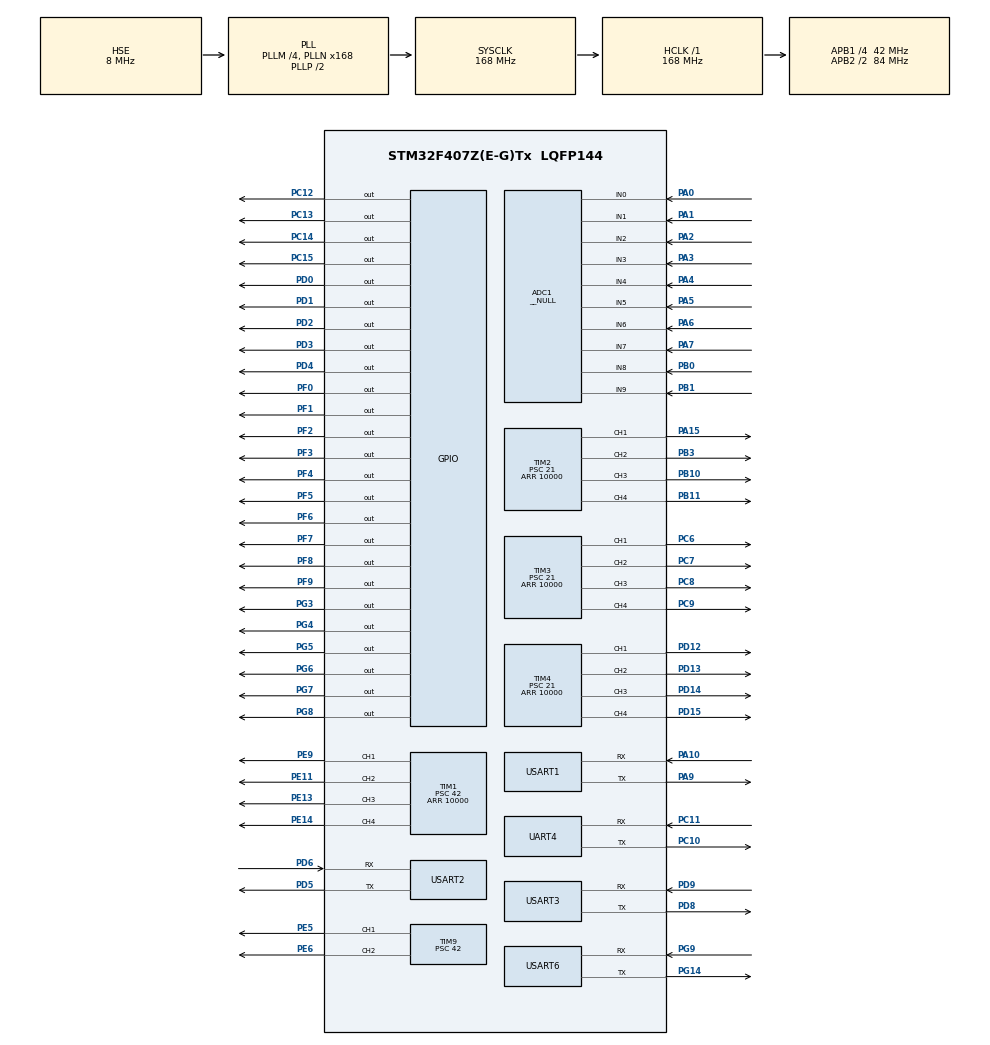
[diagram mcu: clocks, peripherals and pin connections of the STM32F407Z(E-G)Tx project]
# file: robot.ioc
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ADC1.Channel-0\#ChannelRegularConversion=ADC_CHANNEL_0
ADC1.Channel-1\#ChannelRegularConversion=ADC_CHANNEL_1
ADC1.Channel-2\#ChannelRegularConversion=ADC_CHANNEL_2
ADC1.Channel-3\#ChannelRegularConversion=ADC_CHANNEL_3
ADC1.Channel-4\#ChannelRegularConversion=ADC_CHANNEL_4
ADC1.Channel-5\#ChannelRegularConversion=ADC_CHANNEL_5
ADC1.Channel-6\#ChannelRegularConversion=ADC_CHANNEL_6
ADC1.Channel-7\#ChannelRegularConversion=ADC_CHANNEL_7
ADC1.Channel-8\#ChannelRegularConversion=ADC_CHANNEL_8
ADC1.Channel-9\#ChannelRegularConversion=ADC_CHANNEL_9
ADC1.ContinuousConvMode=ENABLE
ADC1.DMAContinuousRequests=ENABLE
ADC1.DiscontinuousConvMode=DISABLE
ADC1.Mode=__NULL
ADC1.NbrOfConversion=10
ADC1.NbrOfConversionFlag=1
ADC1.Rank-0\#ChannelRegularConversion=1
ADC1.Rank-1\#ChannelRegularConversion=2
ADC1.Rank-2\#ChannelRegularConversion=3
ADC1.Rank-3\#ChannelRegularConversion=4
ADC1.Rank-4\#ChannelRegularConversion=5
ADC1.Rank-5\#ChannelRegularConversion=6
ADC1.Rank-6\#ChannelRegularConversion=7
ADC1.Rank-7\#ChannelRegularConversion=8
ADC1.Rank-8\#ChannelRegularConversion=9
ADC1.Rank-9\#ChannelRegularConversion=10
ADC1.SamplingTime-0\#ChannelRegularConversion=ADC_SAMPLETIME_3CYCLES
ADC1.SamplingTime-1\#ChannelRegularConversion=ADC_SAMPLETIME_3CYCLES
ADC1.SamplingTime-2\#ChannelRegularConversion=ADC_SAMPLETIME_3CYCLES
ADC1.SamplingTime-3\#ChannelRegularConversion=ADC_SAMPLETIME_3CYCLES
ADC1.SamplingTime-4\#ChannelRegularConversion=ADC_SAMPLETIME_3CYCLES
ADC1.SamplingTime-5\#ChannelRegularConversion=ADC_SAMPLETIME_3CYCLES
ADC1.SamplingTime-6\#ChannelRegularConversion=ADC_SAMPLETIME_3CYCLES
ADC1.SamplingTime-7\#ChannelRegularConversion=ADC_SAMPLETIME_3CYCLES
ADC1.SamplingTime-8\#ChannelRegularConversion=ADC_SAMPLETIME_3CYCLES
ADC1.SamplingTime-9\#ChannelRegularConversion=ADC_SAMPLETIME_3CYCLES
ADC1.ScanConvMode=ENABLE
ADC1.master=1
Dma.ADC1.0.Direction=DMA_PERIPH_TO_MEMORY
Dma.ADC1.0.FIFOMode=DMA_FIFOMODE_DISABLE
Dma.ADC1.0.Instance=DMA2_Stream0
Dma.ADC1.0.MemDataAlignment=DMA_MDATAALIGN_HALFWORD
Dma.ADC1.0.MemInc=DMA_MINC_ENABLE
Dma.ADC1.0.Mode=DMA_CIRCULAR
Dma.ADC1.0.PeriphDataAlignment=DMA_PDATAALIGN_HALFWORD
Dma.ADC1.0.PeriphInc=DMA_PINC_DISABLE
Dma.ADC1.0.Priority=DMA_PRIORITY_LOW
Dma.Request0=ADC1
Mcu.Family=STM32F4
Mcu.Name=STM32F407Z(E-G)Tx
Mcu.Package=LQFP144
NVIC.DMA2_Stream0_IRQn=true\:0\:0\:false\:false\:true\:false\:true
NVIC.PriorityGroup=NVIC_PRIORITYGROUP_4
NVIC.UART4_IRQn=true\:0\:0\:false\:false\:true\:true\:true
NVIC.USART1_IRQn=true\:0\:0\:false\:false\:true\:true\:true
NVIC.USART2_IRQn=true\:0\:0\:false\:false\:true\:true\:true
NVIC.USART3_IRQn=true\:0\:0\:false\:false\:true\:true\:true
NVIC.USART6_IRQn=true\:0\:0\:false\:false\:true\:true\:true
PA0-WKUP.Signal=ADCx_IN0
PA1.Signal=ADCx_IN1
PA10.Mode=Asynchronous
PA10.Signal=USART1_RX
PA13.Mode=Serial_Wire
PA13.Signal=SYS_JTMS-SWDIO
PA14.Mode=Serial_Wire
PA14.Signal=SYS_JTCK-SWCLK
PA15.GPIO_Speed=GPIO_SPEED_FREQ_HIGH
PA15.Signal=S_TIM2_CH1_ETR
PA2.Signal=ADCx_IN2
PA3.Signal=ADCx_IN3
PA4.Signal=ADCx_IN4
PA5.Signal=ADCx_IN5
PA6.Signal=ADCx_IN6
PA7.Signal=ADCx_IN7
PA9.Mode=Asynchronous
PA9.Signal=USART1_TX
PB0.Signal=ADCx_IN8
PB1.Signal=ADCx_IN9
PB10.GPIO_Speed=GPIO_SPEED_FREQ_HIGH
PB10.Signal=S_TIM2_CH3
PB11.GPIO_Speed=GPIO_SPEED_FREQ_HIGH
PB11.Signal=S_TIM2_CH4
PB3.GPIO_Speed=GPIO_SPEED_FREQ_HIGH
PB3.Signal=S_TIM2_CH2
PC10.Mode=Asynchronous
PC10.Signal=UART4_TX
PC11.Mode=Asynchronous
PC11.Signal=UART4_RX
PC12.Signal=GPIO_Output
PC13-ANTI_TAMP.Signal=GPIO_Output
PC14-OSC32_IN.Signal=GPIO_Output
PC15-OSC32_OUT.Signal=GPIO_Output
PC6.GPIO_Speed=GPIO_SPEED_FREQ_HIGH
PC6.Signal=S_TIM3_CH1
PC7.GPIO_Speed=GPIO_SPEED_FREQ_HIGH
PC7.Signal=S_TIM3_CH2
PC8.GPIO_Speed=GPIO_SPEED_FREQ_HIGH
PC8.Signal=S_TIM3_CH3
PC9.GPIO_Speed=GPIO_SPEED_FREQ_HIGH
PC9.Signal=S_TIM3_CH4
PD0.Signal=GPIO_Output
PD1.Signal=GPIO_Output
PD12.GPIO_Speed=GPIO_SPEED_FREQ_HIGH
PD12.Signal=S_TIM4_CH1
PD13.GPIO_Speed=GPIO_SPEED_FREQ_HIGH
PD13.Signal=S_TIM4_CH2
PD14.GPIO_Speed=GPIO_SPEED_FREQ_HIGH
PD14.Signal=S_TIM4_CH3
PD15.GPIO_Speed=GPIO_SPEED_FREQ_HIGH
PD15.Signal=S_TIM4_CH4
PD2.Signal=GPIO_Output
PD3.Signal=GPIO_Output
PD4.Signal=GPIO_Output
PD5.Mode=Asynchronous
PD5.Signal=USART2_TX
PD6.Mode=Asynchronous
PD6.Signal=USART2_RX
PD8.Mode=Asynchronous
PD8.Signal=USART3_TX
PD9.Mode=Asynchronous
PD9.Signal=USART3_RX
PE11.GPIO_Speed=GPIO_SPEED_FREQ_HIGH
PE11.Signal=S_TIM1_CH2
PE13.GPIO_Speed=GPIO_SPEED_FREQ_HIGH
PE13.Signal=S_TIM1_CH3
PE14.GPIO_Speed=GPIO_SPEED_FREQ_HIGH
PE14.Signal=S_TIM1_CH4
PE5.GPIO_Speed=GPIO_SPEED_FREQ_HIGH
PE5.Signal=S_TIM9_CH1
PE6.GPIO_Speed=GPIO_SPEED_FREQ_HIGH
PE6.Signal=S_TIM9_CH2
PE9.GPIO_Speed=GPIO_SPEED_FREQ_HIGH
PE9.Signal=S_TIM1_CH1
PF0.GPIO_ModeDefaultOutputPP=GPIO_MODE_OUTPUT_PP
PF0.GPIO_PuPd=GPIO_NOPULL
PF0.GPIO_Speed=GPIO_SPEED_FREQ_LOW
PF0.PinState=GPIO_PIN_RESET
PF0.Signal=GPIO_Output
PF1.GPIO_ModeDefaultOutputPP=GPIO_MODE_OUTPUT_PP
PF1.GPIO_PuPd=GPIO_NOPULL
PF1.GPIO_Speed=GPIO_SPEED_FREQ_LOW
PF1.PinState=GPIO_PIN_RESET
PF1.Signal=GPIO_Output
PF2.GPIO_ModeDefaultOutputPP=GPIO_MODE_OUTPUT_PP
PF2.GPIO_PuPd=GPIO_NOPULL
PF2.GPIO_Speed=GPIO_SPEED_FREQ_LOW
PF2.PinState=GPIO_PIN_RESET
PF2.Signal=GPIO_Output
PF3.Signal=GPIO_Output
PF4.Signal=GPIO_Output
PF5.Signal=GPIO_Output
PF6.Signal=GPIO_Output
PF7.Signal=GPIO_Output
PF8.Signal=GPIO_Output
PF9.Signal=GPIO_Output
PG14.Mode=Asynchronous
PG14.Signal=USART6_TX
PG3.GPIO_ModeDefaultOutputPP=GPIO_MODE_OUTPUT_PP
PG3.GPIO_PuPd=GPIO_NOPULL
PG3.GPIO_Speed=GPIO_SPEED_FREQ_LOW
PG3.PinState=GPIO_PIN_RESET
PG3.Signal=GPIO_Output
PG4.GPIO_ModeDefaultOutputPP=GPIO_MODE_OUTPUT_PP
PG4.GPIO_PuPd=GPIO_NOPULL
PG4.GPIO_Speed=GPIO_SPEED_FREQ_LOW
PG4.PinState=GPIO_PIN_RESET
PG4.Signal=GPIO_Output
PG5.GPIO_ModeDefaultOutputPP=GPIO_MODE_OUTPUT_PP
PG5.GPIO_PuPd=GPIO_NOPULL
PG5.GPIO_Speed=GPIO_SPEED_FREQ_LOW
PG5.PinState=GPIO_PIN_RESET
PG5.Signal=GPIO_Output
PG6.GPIO_ModeDefaultOutputPP=GPIO_MODE_OUTPUT_PP
PG6.GPIO_PuPd=GPIO_NOPULL
PG6.GPIO_Speed=GPIO_SPEED_FREQ_LOW
PG6.PinState=GPIO_PIN_RESET
PG6.Signal=GPIO_Output
PG7.Signal=GPIO_Output
PG8.Signal=GPIO_Output
PG9.Mode=Asynchronous
PG9.Signal=USART6_RX
PH0-OSC_IN.Mode=HSE-External-Oscillator
PH0-OSC_IN.Signal=RCC_OSC_IN
PH1-OSC_OUT.Mode=HSE-External-Oscillator
PH1-OSC_OUT.Signal=RCC_OSC_OUT
ProjectManager.HeapSize=0x200
ProjectManager.StackSize=0x400
ProjectManager.TargetToolchain=MDK-ARM V5
RCC.48MHZClocksFreq_Value=84000000
RCC.AHBFreq_Value=168000000
RCC.APB1CLKDivider=RCC_HCLK_DIV4
RCC.APB1Freq_Value=42000000
RCC.APB1TimFreq_Value=84000000
RCC.APB2CLKDivider=RCC_HCLK_DIV2
RCC.APB2Freq_Value=84000000
RCC.APB2TimFreq_Value=168000000
RCC.CortexFreq_Value=168000000
RCC.HCLKFreq_Value=168000000
RCC.HSE_VALUE=8000000
RCC.HSI_VALUE=16000000
RCC.LSE_VALUE=32768
RCC.PLLM=4
RCC.PLLN=168
RCC.PLLSourceVirtual=RCC_PLLSOURCE_HSE
RCC.SYSCLKFreq_VALUE=168000000
RCC.SYSCLKSource=RCC_SYSCLKSOURCE_PLLCLK
RCC.VCOOutputFreq_Value=336000000
SH.ADCx_IN0.0=ADC1_IN0,IN0
SH.ADCx_IN1.0=ADC1_IN1,IN1
SH.ADCx_IN2.0=ADC1_IN2,IN2
SH.ADCx_IN3.0=ADC1_IN3,IN3
SH.ADCx_IN4.0=ADC1_IN4,IN4
SH.ADCx_IN5.0=ADC1_IN5,IN5
SH.ADCx_IN6.0=ADC1_IN6,IN6
SH.ADCx_IN7.0=ADC1_IN7,IN7
SH.ADCx_IN8.0=ADC1_IN8,IN8
SH.ADCx_IN9.0=ADC1_IN9,IN9
SH.S_TIM1_CH1.0=TIM1_CH1,PWM Generation1 CH1
SH.S_TIM1_CH2.0=TIM1_CH2,PWM Generation2 CH2
SH.S_TIM1_CH3.0=TIM1_CH3,PWM Generation3 CH3
SH.S_TIM1_CH4.0=TIM1_CH4,PWM Generation4 CH4
SH.S_TIM2_CH1_ETR.0=TIM2_CH1,PWM Generation1 CH1
SH.S_TIM2_CH2.0=TIM2_CH2,PWM Generation2 CH2
SH.S_TIM2_CH3.0=TIM2_CH3,PWM Generation3 CH3
SH.S_TIM2_CH4.0=TIM2_CH4,PWM Generation4 CH4
SH.S_TIM3_CH1.0=TIM3_CH1,PWM Generation1 CH1
SH.S_TIM3_CH2.0=TIM3_CH2,PWM Generation2 CH2
SH.S_TIM3_CH3.0=TIM3_CH3,PWM Generation3 CH3
SH.S_TIM3_CH4.0=TIM3_CH4,PWM Generation4 CH4
SH.S_TIM4_CH1.0=TIM4_CH1,PWM Generation1 CH1
SH.S_TIM4_CH2.0=TIM4_CH2,PWM Generation2 CH2
SH.S_TIM4_CH3.0=TIM4_CH3,PWM Generation3 CH3
SH.S_TIM4_CH4.0=TIM4_CH4,PWM Generation4 CH4
SH.S_TIM9_CH1.0=TIM9_CH1,PWM Generation1 CH1
SH.S_TIM9_CH2.0=TIM9_CH2,PWM Generation2 CH2
TIM1.Channel-PWM\ Generation1\ CH1=TIM_CHANNEL_1
TIM1.Channel-PWM\ Generation2\ CH2=TIM_CHANNEL_2
TIM1.Channel-PWM\ Generation3\ CH3=TIM_CHANNEL_3
TIM1.Channel-PWM\ Generation4\ CH4=TIM_CHANNEL_4
TIM1.Period=10000
TIM1.Prescaler=42
TIM2.Channel-PWM\ Generation1\ CH1=TIM_CHANNEL_1
TIM2.Channel-PWM\ Generation2\ CH2=TIM_CHANNEL_2
TIM2.Channel-PWM\ Generation3\ CH3=TIM_CHANNEL_3
TIM2.Channel-PWM\ Generation4\ CH4=TIM_CHANNEL_4
TIM2.Period=10000
TIM2.Prescaler=21
TIM3.Channel-PWM\ Generation1\ CH1=TIM_CHANNEL_1
TIM3.Channel-PWM\ Generation2\ CH2=TIM_CHANNEL_2
TIM3.Channel-PWM\ Generation3\ CH3=TIM_CHANNEL_3
TIM3.Channel-PWM\ Generation4\ CH4=TIM_CHANNEL_4
TIM3.Period=10000
TIM3.Prescaler=21
TIM4.Channel-PWM\ Generation1\ CH1=TIM_CHANNEL_1
TIM4.Channel-PWM\ Generation2\ CH2=TIM_CHANNEL_2
TIM4.Channel-PWM\ Generation3\ CH3=TIM_CHANNEL_3
TIM4.Channel-PWM\ Generation4\ CH4=TIM_CHANNEL_4
TIM4.Period=10000
TIM4.Prescaler=21
TIM9.Channel-PWM\ Generation1\ CH1=TIM_CHANNEL_1
TIM9.Channel-PWM\ Generation2\ CH2=TIM_CHANNEL_2
TIM9.Period=10000
TIM9.Prescaler=42
UART4.VirtualMode=Asynchronous
USART1.VirtualMode=VM_ASYNC
USART2.VirtualMode=VM_ASYNC
USART3.VirtualMode=VM_ASYNC
USART6.VirtualMode=VM_ASYNC
board=custom

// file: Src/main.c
/* USER CODE BEGIN Header */
/**
  ******************************************************************************
  * @file           : main.c
  * @brief          : Main program body
  ******************************************************************************
  ** This notice applies to any and all portions of this file
  * that are not between comment pairs USER CODE BEGIN and
  * USER CODE END. Other portions of this file, whether
  * inserted by the user or by software development tools
  * are owned by their respective copyright owners.
  *
  * COPYRIGHT(c) 2019 STMicroelectronics
  *
  * Redistribution and use in source and binary forms, with or without modification,
  * are permitted provided that the following conditions are met:
  *   1. Redistributions of source code must retain the above copyright notice,
  *      this list of conditions and the following disclaimer.
  *   2. Redistributions in binary form must reproduce the above copyright notice,
  *      this list of conditions and the following disclaimer in the documentation
  *      and/or other materials provided with the distribution.
  *   3. Neither the name of STMicroelectronics nor the names of its contributors
  *      may be used to endorse or promote products derived from this software
  *      without specific prior written permission.
  *
  * THIS SOFTWARE IS PROVIDED BY THE COPYRIGHT HOLDERS AND CONTRIBUTORS "AS IS"
  * AND ANY EXPRESS OR IMPLIED WARRANTIES, INCLUDING, BUT NOT LIMITED TO, THE
  * IMPLIED WARRANTIES OF MERCHANTABILITY AND FITNESS FOR A PARTICULAR PURPOSE ARE
  * DISCLAIMED. IN NO EVENT SHALL THE COPYRIGHT HOLDER OR CONTRIBUTORS BE LIABLE
  * FOR ANY DIRECT, INDIRECT, INCIDENTAL, SPECIAL, EXEMPLARY, OR CONSEQUENTIAL
  * DAMAGES (INCLUDING, BUT NOT LIMITED TO, PROCUREMENT OF SUBSTITUTE GOODS OR
  * SERVICES; LOSS OF USE, DATA, OR PROFITS; OR BUSINESS INTERRUPTION) HOWEVER
  * CAUSED AND ON ANY THEORY OF LIABILITY, WHETHER IN CONTRACT, STRICT LIABILITY,
  * OR TORT (INCLUDING NEGLIGENCE OR OTHERWISE) ARISING IN ANY WAY OUT OF THE USE
  * OF THIS SOFTWARE, EVEN IF ADVISED OF THE POSSIBILITY OF SUCH DAMAGE.
  *
  ******************************************************************************
  */
/* USER CODE END Header */

#include "main.h"
#include "adc.h"
#include "dma.h"
#include "tim.h"
#include "usart.h"
#include "gpio.h"

/* USER CODE BEGIN PV */
uint8_t RxBuffer1[20];//串口接受缓存
uint8_t RxBuffer2[20];
uint8_t RxBuffer3[20];
uint8_t RxBuffer4[20];
uint8_t RxBuffer6[20];

uint16_t adcBuffer[200];//ADC DMA数据缓存
uint8_t i=0,j=0;
double adcValue[10];//adc数值
double adcv;
uint8_t key[13];

/* USER CODE END PV */

void SystemClock_Config(void);

/* USER CODE BEGIN 0 */

void user_pwmSetValue(TIM_TypeDef *TIMx ,uint16_t value, uint8_t channel);
void pwm_start(void);

/* USER CODE END 0 */

int main(void)
{

  /* MCU Configuration--------------------------------------------------------*/

  /* Reset of all peripherals, Initializes the Flash interface and the Systick. */
  HAL_Init();

  /* Configure the system clock */
  SystemClock_Config();

  /* Initialize all configured peripherals */
  MX_GPIO_Init();
  MX_DMA_Init();
  MX_USART1_UART_Init();
  MX_USART2_UART_Init();
  MX_USART3_UART_Init();
  MX_USART6_UART_Init();
  MX_UART4_Init();
  MX_TIM1_Init();
  MX_ADC1_Init();
  MX_TIM3_Init();
  MX_TIM4_Init();
  MX_TIM9_Init();
  MX_TIM2_Init();
  /* USER CODE BEGIN 2 */
	pwm_start();

	user_pwmSetValue(TIM1 ,2000, 1);
	user_pwmSetValue(TIM1 ,4000, 2);
	user_pwmSetValue(TIM1 ,6000, 3);
	user_pwmSetValue(TIM1 ,8000, 4);

	user_pwmSetValue(TIM2 ,2000, 1);
	user_pwmSetValue(TIM2 ,4000, 2);
	user_pwmSetValue(TIM2 ,6000, 3);
	user_pwmSetValue(TIM2 ,8000, 4);

	user_pwmSetValue(TIM3 ,2000, 1);
	user_pwmSetValue(TIM3 ,4000, 2);
	user_pwmSetValue(TIM3 ,6000, 3);
	user_pwmSetValue(TIM3 ,8000, 4);

	user_pwmSetValue(TIM4, 2000, 1);
	user_pwmSetValue(TIM4 ,4000, 2);
	user_pwmSetValue(TIM4 ,6000, 3);
	user_pwmSetValue(TIM4 ,8000, 4);

	user_pwmSetValue(TIM9 ,2000, 1);
	user_pwmSetValue(TIM9 ,4000, 2);
	HAL_UART_Receive_IT(&huart1 ,RxBuffer1 ,10);
	HAL_UART_Transmit_IT(&huart1, "1ok\r\n", 4);
	HAL_UART_Receive_IT(&huart2 ,RxBuffer2 ,10);
	HAL_UART_Transmit_IT(&huart2, "2ok\r\n", 4);
	HAL_UART_Receive_IT(&huart3 ,RxBuffer3 ,10);
	HAL_UART_Transmit_IT(&huart3, "3ok\r\n", 4);
	HAL_UART_Receive_IT(&huart4 ,RxBuffer4 ,10);
	HAL_UART_Transmit_IT(&huart4, "4ok\r\n", 4);
	HAL_UART_Receive_IT(&huart6 ,RxBuffer6 ,10);
	HAL_UART_Transmit_IT(&huart6, "6ok\r\n", 4);

	HAL_ADC_Start_DMA(&hadc1, (uint32_t*)&adcBuffer , 200);

  /* USER CODE END 2 */

  /* Infinite loop */
  while (1)
  {

    /* USER CODE BEGIN 3 */
		adcv=0;

		for(i=0;i<10;i++)
		{
			for(j=0;j<20;j++)
			{
				adcv+=adcBuffer[j*10+i];
			}
				adcValue[i]=adcv*3.3/40960/2;
				adcv=0;
		}

		if(key[0]) 	Pumb1Set(GPIO_PIN_SET);
		else       	Pumb1Set(GPIO_PIN_RESET);
		if(key[1]) 	Pumb2Set(GPIO_PIN_SET);
		else    	 	Pumb2Set(GPIO_PIN_RESET);
		if(key[2]) 	Pumb3Set(GPIO_PIN_SET);
		else    	 	Pumb3Set(GPIO_PIN_RESET);
		if(key[3]) 	Pumb4Set(GPIO_PIN_SET);
		else     	 	Pumb4Set(GPIO_PIN_RESET);
		if(key[4]) 	Pumb5Set(GPIO_PIN_SET);
		else    	 	Pumb5Set(GPIO_PIN_RESET);
		if(key[5]) 	Pumb6Set(GPIO_PIN_SET);
		else    	 	Pumb6Set(GPIO_PIN_RESET);
		if(key[6]) 	WaterPumbSet(GPIO_PIN_SET);
		else    	 	WaterPumbSet(GPIO_PIN_RESET);
		if(key[7]) 	MagneticValve1Set(GPIO_PIN_SET);
		else    	 	MagneticValve1Set(GPIO_PIN_RESET);
		if(key[8]) 	MagneticValve2Set(GPIO_PIN_SET);
		else    		MagneticValve2Set(GPIO_PIN_RESET);
		if(key[9]) 	MagneticValve3Set(GPIO_PIN_SET);
		else    	 	MagneticValve3Set(GPIO_PIN_RESET);
		if(key[10]) MagneticValve4Set(GPIO_PIN_SET);
		else    	 	MagneticValve4Set(GPIO_PIN_RESET);
		if(key[11]) MagneticValve5Set(GPIO_PIN_SET);
		else    	  MagneticValve5Set(GPIO_PIN_RESET);
		if(key[12]) MagneticValve6Set(GPIO_PIN_SET);
		else    	  MagneticValve6Set(GPIO_PIN_RESET);

  }
  /* USER CODE END 3 */
}

void SystemClock_Config(void)
{
  RCC_OscInitTypeDef RCC_OscInitStruct = {0};
  RCC_ClkInitTypeDef RCC_ClkInitStruct = {0};

  /**Configure the main internal regulator output voltage
  */
  __HAL_RCC_PWR_CLK_ENABLE();
  __HAL_PWR_VOLTAGESCALING_CONFIG(PWR_REGULATOR_VOLTAGE_SCALE1);
  /**Initializes the CPU, AHB and APB busses clocks
  */
  RCC_OscInitStruct.OscillatorType = RCC_OSCILLATORTYPE_HSE;
  RCC_OscInitStruct.HSEState = RCC_HSE_ON;
  RCC_OscInitStruct.PLL.PLLState = RCC_PLL_ON;
  RCC_OscInitStruct.PLL.PLLSource = RCC_PLLSOURCE_HSE;
  RCC_OscInitStruct.PLL.PLLM = 4;
  RCC_OscInitStruct.PLL.PLLN = 168;
  RCC_OscInitStruct.PLL.PLLP = RCC_PLLP_DIV2;
  RCC_OscInitStruct.PLL.PLLQ = 4;
  if (HAL_RCC_OscConfig(&RCC_OscInitStruct) != HAL_OK)
  {
    Error_Handler();
  }
  /**Initializes the CPU, AHB and APB busses clocks
  */
  RCC_ClkInitStruct.ClockType = RCC_CLOCKTYPE_HCLK|RCC_CLOCKTYPE_SYSCLK
                              |RCC_CLOCKTYPE_PCLK1|RCC_CLOCKTYPE_PCLK2;
  RCC_ClkInitStruct.SYSCLKSource = RCC_SYSCLKSOURCE_PLLCLK;
  RCC_ClkInitStruct.AHBCLKDivider = RCC_SYSCLK_DIV1;
  RCC_ClkInitStruct.APB1CLKDivider = RCC_HCLK_DIV4;
  RCC_ClkInitStruct.APB2CLKDivider = RCC_HCLK_DIV2;

  if (HAL_RCC_ClockConfig(&RCC_ClkInitStruct, FLASH_LATENCY_5) != HAL_OK)
  {
    Error_Handler();
  }
}

/* USER CODE BEGIN 4 */

void HAL_UART_RxCpltCallback(UART_HandleTypeDef *huart)
{
	UNUSED(huart);
	if(huart->Instance == USART1)
		{
			HAL_UART_Transmit_IT(&huart1 ,RxBuffer1 ,10);
			HAL_UART_Receive_IT(&huart1 ,RxBuffer1 ,10);
		}

		else if(huart->Instance == USART2)
		{
			HAL_UART_Transmit_IT(&huart2 ,RxBuffer2 ,10);
			HAL_UART_Receive_IT(&huart2 ,RxBuffer2 ,10);
		}

		else if(huart->Instance == USART3)
		{
			HAL_UART_Transmit_IT(&huart3 ,RxBuffer3 ,10);
			HAL_UART_Receive_IT(&huart3 ,RxBuffer3 ,10);
		}

		else if(huart->Instance == UART4)
		{
			HAL_UART_Transmit_IT(&huart4 ,RxBuffer4 ,10);
			HAL_UART_Receive_IT(&huart4 ,RxBuffer4, 10);
		}

		else if(huart->Instance == USART6)
		{
			HAL_UART_Transmit_IT(&huart6 ,RxBuffer6 ,10);
			HAL_UART_Receive_IT(&huart6 ,RxBuffer6 ,10);
		}
}

void user_pwmSetValue(TIM_TypeDef *TIMx ,uint16_t value, uint8_t channel)
{
	if(channel==1)
		TIMx->CCR1 = value;
	else if(channel==2)
		TIMx->CCR2 = value;
	else if(channel==3)
		TIMx->CCR3 = value;
	else if(channel==4)
		TIMx->CCR4 = value;
}

void pwm_start(void)
{
	HAL_TIM_PWM_Start(&htim1, TIM_CHANNEL_1);
	HAL_TIM_PWM_Start(&htim1, TIM_CHANNEL_2);
	HAL_TIM_PWM_Start(&htim1, TIM_CHANNEL_3);
	HAL_TIM_PWM_Start(&htim1, TIM_CHANNEL_4);
	HAL_TIM_PWM_Start(&htim2, TIM_CHANNEL_1);
	HAL_TIM_PWM_Start(&htim2, TIM_CHANNEL_2);
	HAL_TIM_PWM_Start(&htim2, TIM_CHANNEL_3);
	HAL_TIM_PWM_Start(&htim2, TIM_CHANNEL_4);
	HAL_TIM_PWM_Start(&htim3, TIM_CHANNEL_1);
	HAL_TIM_PWM_Start(&htim3, TIM_CHANNEL_2);
	HAL_TIM_PWM_Start(&htim3, TIM_CHANNEL_3);
	HAL_TIM_PWM_Start(&htim3, TIM_CHANNEL_4);
	HAL_TIM_PWM_Start(&htim4, TIM_CHANNEL_1);
	HAL_TIM_PWM_Start(&htim4, TIM_CHANNEL_2);
	HAL_TIM_PWM_Start(&htim4, TIM_CHANNEL_3);
	HAL_TIM_PWM_Start(&htim4, TIM_CHANNEL_4);
	HAL_TIM_PWM_Start(&htim9, TIM_CHANNEL_1);
	HAL_TIM_PWM_Start(&htim9, TIM_CHANNEL_2);
}

/* USER CODE END 4 */

void Error_Handler(void)
{
}

/************************ (C) COPYRIGHT STMicroelectronics *****END OF FILE****/
